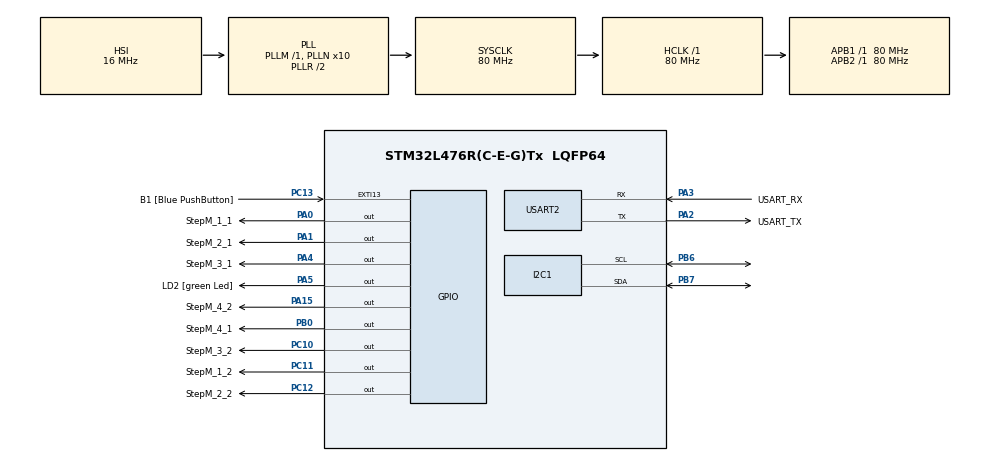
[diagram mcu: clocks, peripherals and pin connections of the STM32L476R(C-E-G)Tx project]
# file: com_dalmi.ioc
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I2C1.Timing=0x10909CEC
Mcu.Family=STM32L4
Mcu.Name=STM32L476R(C-E-G)Tx
Mcu.Package=LQFP64
Mcu.UserConstants=TIM6_PRESCALER,7999;TIM6_PERIOD,9
NVIC.PriorityGroup=NVIC_PRIORITYGROUP_4
NVIC.TIM6_DAC_IRQn=true\:0\:0\:false\:false\:true\:true\:true
NVIC.USART2_IRQn=true\:0\:0\:false\:false\:true\:true\:true
PA0.GPIO_Label=StepM_1_1
PA0.Signal=GPIO_Output
PA1.GPIO_Label=StepM_2_1
PA1.Signal=GPIO_Output
PA13\ (JTMS-SWDIO).GPIO_Label=TMS
PA13\ (JTMS-SWDIO).Mode=Serial_Wire
PA13\ (JTMS-SWDIO).Signal=SYS_JTMS-SWDIO
PA14\ (JTCK-SWCLK).GPIO_Label=TCK
PA14\ (JTCK-SWCLK).Mode=Serial_Wire
PA14\ (JTCK-SWCLK).Signal=SYS_JTCK-SWCLK
PA15\ (JTDI).GPIO_Label=StepM_4_2
PA15\ (JTDI).Signal=GPIO_Output
PA2.GPIO_Label=USART_TX
PA2.GPIO_Mode=GPIO_MODE_AF_PP
PA2.GPIO_PuPd=GPIO_NOPULL
PA2.GPIO_Speed=GPIO_SPEED_FREQ_VERY_HIGH
PA2.Mode=Asynchronous
PA2.Signal=USART2_TX
PA3.GPIO_Label=USART_RX
PA3.GPIO_Mode=GPIO_MODE_AF_PP
PA3.GPIO_PuPd=GPIO_NOPULL
PA3.GPIO_Speed=GPIO_SPEED_FREQ_VERY_HIGH
PA3.Mode=Asynchronous
PA3.Signal=USART2_RX
PA4.GPIO_Label=StepM_3_1
PA4.Signal=GPIO_Output
PA5.GPIO_Label=LD2 [green Led]
PA5.GPIO_ModeDefaultOutputPP=GPIO_MODE_OUTPUT_PP
PA5.GPIO_PuPd=GPIO_NOPULL
PA5.GPIO_Speed=GPIO_SPEED_FREQ_LOW
PA5.Signal=GPIO_Output
PB0.GPIO_Label=StepM_4_1
PB0.Signal=GPIO_Output
PB6.Mode=I2C
PB6.Signal=I2C1_SCL
PB7.Mode=I2C
PB7.Signal=I2C1_SDA
PC10.GPIO_Label=StepM_3_2
PC10.Signal=GPIO_Output
PC11.GPIO_Label=StepM_1_2
PC11.Signal=GPIO_Output
PC12.GPIO_Label=StepM_2_2
PC12.Signal=GPIO_Output
PC13.GPIO_Label=B1 [Blue PushButton]
PC13.GPIO_ModeDefaultEXTI=GPIO_MODE_IT_FALLING
PC13.GPIO_PuPd=GPIO_NOPULL
PC13.Signal=GPXTI13
PC14-OSC32_IN\ (PC14).Mode=LSE-External-Oscillator
PC14-OSC32_IN\ (PC14).Signal=RCC_OSC32_IN
PC15-OSC32_OUT\ (PC15).Mode=LSE-External-Oscillator
PC15-OSC32_OUT\ (PC15).Signal=RCC_OSC32_OUT
PH0-OSC_IN\ (PH0).Mode=HSE-External-Oscillator
PH0-OSC_IN\ (PH0).Signal=RCC_OSC_IN
PH1-OSC_OUT\ (PH1).Mode=HSE-External-Oscillator
PH1-OSC_OUT\ (PH1).Signal=RCC_OSC_OUT
ProjectManager.HeapSize=0x200
ProjectManager.StackSize=0x400
ProjectManager.TargetToolchain=STM32CubeIDE
RCC.ADCFreq_Value=64000000
RCC.AHBFreq_Value=80000000
RCC.APB1Freq_Value=80000000
RCC.APB1TimFreq_Value=80000000
RCC.APB2Freq_Value=80000000
RCC.APB2TimFreq_Value=80000000
RCC.CortexFreq_Value=80000000
RCC.HCLKFreq_Value=80000000
RCC.HSE_VALUE=8000000
RCC.HSI_VALUE=16000000
RCC.MSI_VALUE=4000000
RCC.PLLN=10
RCC.PLLSourceVirtual=RCC_PLLSOURCE_HSI
RCC.PREFETCH_ENABLE=1
RCC.SYSCLKFreq_VALUE=80000000
RCC.SYSCLKSource=RCC_SYSCLKSOURCE_PLLCLK
RCC.USBFreq_Value=64000000
RCC.VCOOutputFreq_Value=160000000
TIM6.AutoReloadPreload=TIM_AUTORELOAD_PRELOAD_ENABLE
TIM6.Period=TIM6_PERIOD
TIM6.Prescaler=TIM6_PRESCALER
USART2.VirtualMode-Asynchronous=VM_ASYNC
VP_TIM6_VS_ClockSourceINT.Mode=Enable_Timer
board=NUCLEO-L476RG

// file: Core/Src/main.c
/* USER CODE BEGIN Header */
/**
  ******************************************************************************
  * @file           : main.c
  * @brief          : Main program body
  ******************************************************************************
  * @attention
  *
  * <h2><center>&copy; Copyright (c) 2022 STMicroelectronics.
  * All rights reserved.</center></h2>
  *
  * This software component is licensed by ST under BSD 3-Clause license,
  * the "License"; You may not use this file except in compliance with the
  * License. You may obtain a copy of the License at:
  *                        opensource.org/licenses/BSD-3-Clause
  *
  ******************************************************************************
  */
/* USER CODE END Header */
#include "main.h"
#include "i2c.h"
#include "tim.h"
#include "usart.h"
#include "gpio.h"

/* USER CODE BEGIN Includes */
#include "stdio.h"
#include "string.h"
#include <math.h>
#include "vl53l0x_api.h"
#include "StepMotor.h"
/* USER CODE END Includes */

/* USER CODE BEGIN PV */
uint8_t r;

uint16_t j,n,m;
char Rx[20],s1[10],s2[10],s3[10];

int x;
int y;
int z;

int16_t ho;

int16_t no;

volatile int flaga_1 = 1;

int8_t a = 0;

uint8_t Message[64];
uint8_t MessageLen;

VL53L0X_RangingMeasurementData_t RangingData;
VL53L0X_Dev_t  vl53l0x_c; // center module
VL53L0X_DEV    Dev = &vl53l0x_c;

int16_t pomiar = 0;								// Zmienne pomocnicze
int16_t licznik = 0;
int16_t Ppros = 0;								// Dlugosc przeciwprostokatnej

int16_t xs = 0;									// Wspolrzedne punktu
int16_t ys = 0;
int16_t zs = 0;

int xo = 0;									// Wspolrzedne punktu
int yo = 0;
int zo = 0;

int16_t prom = 130;									// Odleglosc czujnika od srodka
float kat = 0;

/* USER CODE END PV */

void SystemClock_Config(void);
/* USER CODE BEGIN PFP */
void walec();
int _write(int file, char *ptr, int len);
void kalibruj();

void send(int xwy, int ywy, int zwy);

void resetuj();

/* USER CODE END PFP */

int main(void)
{
  /* USER CODE BEGIN 1 */
	//
	// VL53L0X initialisation stuff
	//
    uint32_t refSpadCount;
    uint8_t isApertureSpads;
    uint8_t VhvSettings;
    uint8_t PhaseCal;

  /* USER CODE END 1 */

  /* MCU Configuration--------------------------------------------------------*/

  /* Reset of all peripherals, Initializes the Flash interface and the Systick. */
  HAL_Init();

  /* Configure the system clock */
  SystemClock_Config();

  /* Initialize all configured peripherals */
  MX_GPIO_Init();
  MX_USART2_UART_Init();
  MX_I2C1_Init();
  MX_TIM6_Init();
  /* USER CODE BEGIN 2 */

  Dev->I2cHandle = &hi2c1;
  Dev->I2cDevAddr = 0x52;
  //
  // VL53L0X init for Single Measurement
  //

  VL53L0X_WaitDeviceBooted( Dev );
  VL53L0X_DataInit( Dev );
  VL53L0X_StaticInit( Dev );
  VL53L0X_PerformRefCalibration(Dev, &VhvSettings, &PhaseCal);
  VL53L0X_PerformRefSpadManagement(Dev, &refSpadCount, &isApertureSpads);
  VL53L0X_SetDeviceMode(Dev, VL53L0X_DEVICEMODE_SINGLE_RANGING);

  // Enable/Disable Sigma and Signal check
  VL53L0X_SetLimitCheckEnable(Dev, VL53L0X_CHECKENABLE_SIGMA_FINAL_RANGE, 1);
  VL53L0X_SetLimitCheckEnable(Dev, VL53L0X_CHECKENABLE_SIGNAL_RATE_FINAL_RANGE, 1);
  VL53L0X_SetLimitCheckValue(Dev, VL53L0X_CHECKENABLE_SIGNAL_RATE_FINAL_RANGE, (FixPoint1616_t)(0.1*65536));
  VL53L0X_SetLimitCheckValue(Dev, VL53L0X_CHECKENABLE_SIGMA_FINAL_RANGE, (FixPoint1616_t)(60*65536));
  VL53L0X_SetMeasurementTimingBudgetMicroSeconds(Dev, 33000);
  VL53L0X_SetVcselPulsePeriod(Dev, VL53L0X_VCSEL_PERIOD_PRE_RANGE, 18);
  VL53L0X_SetVcselPulsePeriod(Dev, VL53L0X_VCSEL_PERIOD_FINAL_RANGE, 14);

  __HAL_UART_ENABLE_IT(&huart2,UART_IT_RXNE);

  //printf("\r\n Rozpoczeto skanowanie \r\n");

  //half_step_motor_right(1024,2);

  //half_step_motor_right(1024,1);

  /* USER CODE END 2 */

  /* Infinite loop */
  /* USER CODE BEGIN WHILE */

  while(z != 987){
	  HAL_Delay(100);
  }

  no = x;
  ho = y;

  kalibruj();

  //HAL_Delay(4000);
  send(8889,8889,8889);

  while(z != 944){
 	  HAL_Delay(100);
   }

  //while (1)
 // {
	while((zo<20)&&(licznik<40)&&z!=997){						// Pętla powtarzająca się 20 razu

		for(int a=1; a<65 ;a++){
			VL53L0X_PerformSingleRangingMeasurement(Dev, &RangingData);
				if(z == 997){
					send(144,144,144);
				}
				if(RangingData.RangeStatus == 0){
					pomiar = RangingData.RangeMilliMeter;
				}

				pomiar = pomiar - 10;

				//printf("%d\n\r",pomiar);

				//printf("%d\r\n",pomiar);
				//HAL_Delay(1000);

				if(pomiar<prom){											// Odrzucanie błędnych pomiarów

					licznik = 0;
					kat = (2*M_PI*a*8)/512;									// Oblicza kąt w radianach
					Ppros = prom - pomiar;						// Oblicza odległosc od srodka silnika krokowego
					//printf("%d\r\n",Ppros);
					xo = Ppros*cosf(kat);					// Wspolrzedna X
					yo = Ppros*sinf(kat);					// Wspolrzedna Y
					send(xo,yo,3*zo);
				}											// Zapisane dane nie zostaja stracone
				else{
					licznik++;								// Zwiekszenie licznika
				}
				half_step_motor_right(8,1);

		}
		zo++;
		SM_it();
		half_step_motor_right(1024,2);
		SM_it();
	}
  	send(144,144,144);

  return 0;

    /* USER CODE END WHILE */

    /* USER CODE BEGIN 3 */
 // }
  /* USER CODE END 3 */
}

void SystemClock_Config(void)
{
  RCC_OscInitTypeDef RCC_OscInitStruct = {0};
  RCC_ClkInitTypeDef RCC_ClkInitStruct = {0};
  RCC_PeriphCLKInitTypeDef PeriphClkInit = {0};

  /** Initializes the RCC Oscillators according to the specified parameters
  * in the RCC_OscInitTypeDef structure.
  */
  RCC_OscInitStruct.OscillatorType = RCC_OSCILLATORTYPE_HSI;
  RCC_OscInitStruct.HSIState = RCC_HSI_ON;
  RCC_OscInitStruct.HSICalibrationValue = RCC_HSICALIBRATION_DEFAULT;
  RCC_OscInitStruct.PLL.PLLState = RCC_PLL_ON;
  RCC_OscInitStruct.PLL.PLLSource = RCC_PLLSOURCE_HSI;
  RCC_OscInitStruct.PLL.PLLM = 1;
  RCC_OscInitStruct.PLL.PLLN = 10;
  RCC_OscInitStruct.PLL.PLLP = RCC_PLLP_DIV7;
  RCC_OscInitStruct.PLL.PLLQ = RCC_PLLQ_DIV2;
  RCC_OscInitStruct.PLL.PLLR = RCC_PLLR_DIV2;
  if (HAL_RCC_OscConfig(&RCC_OscInitStruct) != HAL_OK)
  {
    Error_Handler();
  }
  /** Initializes the CPU, AHB and APB buses clocks
  */
  RCC_ClkInitStruct.ClockType = RCC_CLOCKTYPE_HCLK|RCC_CLOCKTYPE_SYSCLK
                              |RCC_CLOCKTYPE_PCLK1|RCC_CLOCKTYPE_PCLK2;
  RCC_ClkInitStruct.SYSCLKSource = RCC_SYSCLKSOURCE_PLLCLK;
  RCC_ClkInitStruct.AHBCLKDivider = RCC_SYSCLK_DIV1;
  RCC_ClkInitStruct.APB1CLKDivider = RCC_HCLK_DIV1;
  RCC_ClkInitStruct.APB2CLKDivider = RCC_HCLK_DIV1;

  if (HAL_RCC_ClockConfig(&RCC_ClkInitStruct, FLASH_LATENCY_4) != HAL_OK)
  {
    Error_Handler();
  }
  PeriphClkInit.PeriphClockSelection = RCC_PERIPHCLK_USART2|RCC_PERIPHCLK_I2C1;
  PeriphClkInit.Usart2ClockSelection = RCC_USART2CLKSOURCE_PCLK1;
  PeriphClkInit.I2c1ClockSelection = RCC_I2C1CLKSOURCE_PCLK1;
  if (HAL_RCCEx_PeriphCLKConfig(&PeriphClkInit) != HAL_OK)
  {
    Error_Handler();
  }
  /** Configure the main internal regulator output voltage
  */
  if (HAL_PWREx_ControlVoltageScaling(PWR_REGULATOR_VOLTAGE_SCALE1) != HAL_OK)
  {
    Error_Handler();
  }
}

/* USER CODE BEGIN 4 */

void kalibruj(){

	uint8_t flaga = 1;

	//printf( "Kalibracja skanera \r\n");				// Wyswietla komunikat

	while(flaga){

		half_step_motor_left(256,2);			// uruchamia silnik krokowy
		SM_it();
		  VL53L0X_PerformSingleRangingMeasurement(Dev, &RangingData);

		  if(RangingData.RangeStatus == 0){
			if(RangingData.RangeMilliMeter < 200){						// Jezeli pomiar jest mniejszy od 20cm
				flaga = 0;

				//printf("Skalibrowano skaner\r\n");	// Wyswietla komunikat
			}
		}
	}

	half_step_motor_right(512,2);				// Uruchamia 2 silnik krokowy
	SM_it();
}

int _write(int file, char *ptr, int len){

	  if(HAL_UART_Transmit(&huart2, (uint8_t *) ptr, len, 100) != HAL_OK){
		  Error_Handler();
	  }

	return len;
}

void send(int xwy, int ywy, int zwy){

	 	// Zapisanie wspolrzednych do bufora
	printf("X %d %d %d\n",xwy,ywy,zwy );

}

void resetuj(char *tab){

	int8_t k = 0;

	k = strlen(tab);

	while(k>=-1){
		tab[k] = '\0';
		k--;
	}

}

void HAL_UART_RxCpltCallback(UART_HandleTypeDef *huart){

	//resetuj();

	switch(r){

	case ' ':

		if(flaga_1){
			strncpy(s1,Rx,j);
			sscanf(s1, "%d", &x);
			flaga_1 = 0;
			j=0;
			resetuj(s1);
			break;
		}else{
			strncpy(s2,Rx,j);
			sscanf(Rx, "%d", &y);
			j=0;
			resetuj(s2);
			break;
		}

		break;

	case '@':
		strncpy(s3,Rx,j);
		sscanf(Rx, "%d", &z);
		j=0;
		flaga_1 = 1;
		resetuj(s3);
		break;

	default: Rx[j++]=r;

	}

}

/* USER CODE END 4 */

void Error_Handler(void)
{
}

/************************ (C) COPYRIGHT STMicroelectronics *****END OF FILE****/
